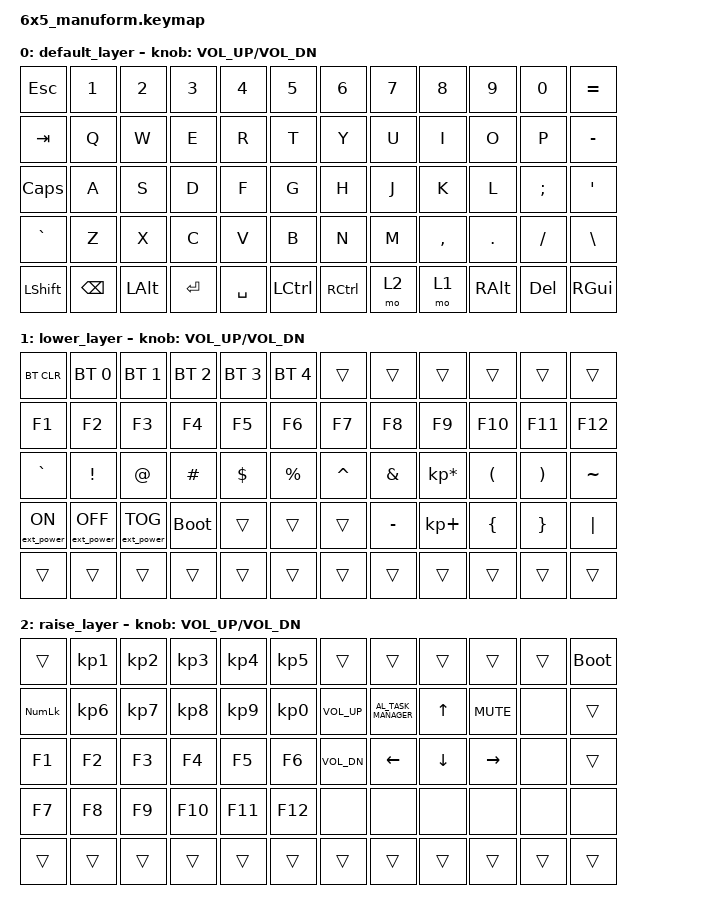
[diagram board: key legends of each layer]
/*
 * Copyright (c) 2020 The ZMK Contributors
 *
 * SPDX-License-Identifier: MIT
 */

#include <behaviors.dtsi>
#include <dt-bindings/zmk/keys.h>
#include <dt-bindings/zmk/bt.h>
#include <dt-bindings/zmk/ext_power.h>

/ {
    keymap {
        compatible = "zmk,keymap";

        default_layer {
            // ------------------------------------------------------------------------------------------------------------
            // |  ESC   |  1  |  2  |  3   |  4   |  5   |                    |  6   |  7    |  8    |  9   |   0   |   `   |
            // |  TAB   |  Q  |  W  |  E   |  R   |  T   |                    |  Y   |  U    |  I    |  O   |   P   |   -   |
            // |  CTRL  |  A  |  S  |  D   |  F   |  G   |                    |  H   |  J    |  K    |  L   |   ;   |   '   |
            // | SHIFT  |  Z  |  X  |  C   |  V   |  B   |                    |  N   |  M    |  ,    |  .   |   /   | SHIFT |
            // |    2   |  2  | f   | 6    | 4    | 1    |                    | 2    | 1     | w     | s    | n     |  a    |

            bindings = <
        &kp ESC         &kp N1        &kp N2     &kp N3     &kp N4     &kp N5     &kp N6  &kp N7     &kp N8    &kp N9    &kp N0  &kp EQUAL
        &kp TAB          &kp Q         &kp W      &kp E      &kp R      &kp T      &kp Y   &kp U      &kp I     &kp O     &kp P  &kp MINUS
   &kp CAPSLOCK          &kp A         &kp S      &kp D      &kp F      &kp G      &kp H   &kp J      &kp K     &kp L  &kp SEMI    &kp SQT
      &kp GRAVE          &kp Z         &kp X      &kp C      &kp V      &kp B      &kp N   &kp M  &kp COMMA   &kp DOT  &kp FSLH   &kp BSLH
 &kp LEFT_SHIFT  &kp BACKSPACE  &kp LEFT_ALT  &kp ENTER  &kp SPACE  &kp LCTRL  &kp RCTRL   &mo 2      &mo 1  &kp RALT   &kp DEL   &kp RGUI
            >;

            sensor-bindings = <&inc_dec_kp C_VOL_UP C_VOL_DN>;
        };

        lower_layer {
            // ------------------------------------------------------------------------------------------------------------
            // | BTCLR | BT1 | BT2 |  BT3 |  BT4 |  BT5 |                   |      |       |       |      |       |       |
            // |  F1   |  F2 |  F3 |  F4  |  F5  |  F6  |                   |  F7  |  F8   |  F9   |  F10 |  F11  |  F12  |
            // |   `   |  !  |  @  |  #   |  $   |  %   |                   |  ^   |  &    |  *    |  (   |   )   |   ~   |
            // |       |     |     |      |      |      |                   |      |  _    |  +    |  {   |   }   |  "|"  |
            // |       |     |     |      |      |      |                   |      |       |       |      |       |       |

            bindings = <
       &bt BT_CLR       &bt BT_SEL 0       &bt BT_SEL 1  &bt BT_SEL 2  &bt BT_SEL 3  &bt BT_SEL 4     &trans     &trans           &trans    &trans    &trans     &trans
           &kp F1             &kp F2             &kp F3        &kp F4        &kp F5        &kp F6     &kp F7     &kp F8           &kp F9   &kp F10   &kp F11    &kp F12
        &kp GRAVE           &kp EXCL             &kp AT      &kp HASH    &kp DOLLAR     &kp PRCNT  &kp CARET   &kp AMPS  &kp KP_MULTIPLY  &kp LPAR  &kp RPAR  &kp TILDE
 &ext_power EP_ON  &ext_power EP_OFF  &ext_power EP_TOG   &bootloader        &trans        &trans     &trans  &kp MINUS      &kp KP_PLUS  &kp LBRC  &kp RBRC   &kp PIPE
           &trans             &trans             &trans        &trans        &trans        &trans     &trans     &trans           &trans    &trans    &trans     &trans
            >;

            sensor-bindings = <&inc_dec_kp C_VOL_UP C_VOL_DN>;
        };

        raise_layer {
            // ------------------------------------------------------------------------------------------------------------
            // |       |     |     |      |      |      |                   |      |       |       |      |       |       |
            // |   `   |  1  |  2  |  3   |  4   |  5   |                   |  6   |   7   |   8   |  9   |   0   |       |
            // |   F1  |  F2 |  F3 |  F4  |  F5  |  F6  |                   |      |   <-  |   v   |  ^   |  ->   |       |
            // |   F7  |  F8 |  F9 |  F10 |  F11 |  F12 |		             |  +   |   -   |   =   |  [   |   ]   |   \   |
            // |     |     |      |      |      |        |                   |       |      |       |       |      |       |

            bindings = <
         &trans  &kp KP_NUMBER_1  &kp KP_NUMBER_2  &kp KP_NUMBER_3  &kp KP_NUMBER_4  &kp KP_NUMBER_5        &trans                 &trans        &trans           &trans  &trans  &bootloader
 &kp KP_NUMLOCK  &kp KP_NUMBER_6  &kp KP_NUMBER_7  &kp KP_NUMBER_8  &kp KP_NUMBER_9  &kp KP_NUMBER_0  &kp K_VOL_UP  &kp C_AL_TASK_MANAGER  &kp UP_ARROW       &kp K_MUTE   &none       &trans
         &kp F1           &kp F2           &kp F3           &kp F4           &kp F5           &kp F6  &kp K_VOL_DN               &kp LEFT      &kp DOWN  &kp RIGHT_ARROW   &none       &trans
         &kp F7           &kp F8           &kp F9          &kp F10          &kp F11          &kp F12         &none                  &none         &none            &none   &none        &none
         &trans           &trans           &trans           &trans           &trans           &trans        &trans                 &trans        &trans           &trans  &trans       &trans
            >;

            sensor-bindings = <&inc_dec_kp C_VOL_UP C_VOL_DN>;
        };
    };
};
